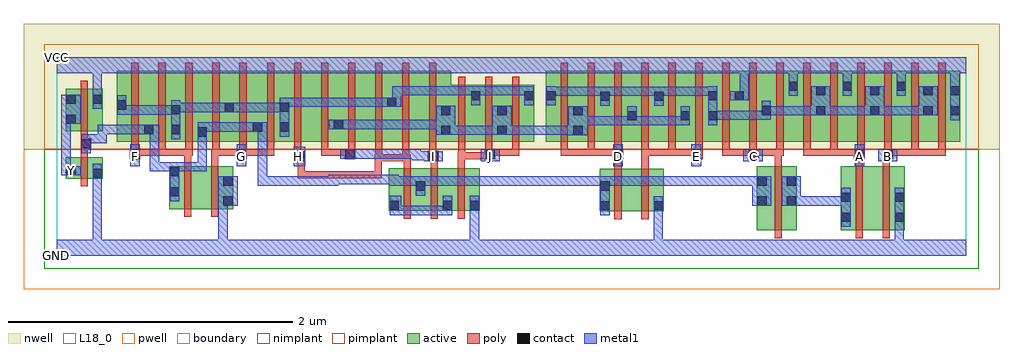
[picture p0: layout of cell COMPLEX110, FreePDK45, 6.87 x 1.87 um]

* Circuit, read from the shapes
.subckt COMPLEX110 A B C D E F G GND H I J VCC Y
M1 GND n1 Y VSUBS nfet w=0.15u l=0.05u
M2 n2 F n1 VSUBS nfet w=0.3u l=0.05u
M3 GND G n2 VSUBS nfet w=0.3u l=0.05u
M4 n1 H n3 VSUBS nfet w=0.3u l=0.05u
M5 n3 I n1 VSUBS nfet w=0.3u l=0.05u
M6 GND J n3 VSUBS nfet w=0.3u l=0.05u
M7 n4 D n1 VSUBS nfet w=0.3u l=0.05u
M8 GND E n4 VSUBS nfet w=0.3u l=0.05u
M9 n5 C n1 VSUBS nfet w=0.45u l=0.05u
M10 n6 A n5 VSUBS nfet w=0.45u l=0.05u
M11 GND B n6 VSUBS nfet w=0.45u l=0.05u
M12 VCC n1 Y n7 pfet w=0.3u l=0.05u
M13 n1 F n8 n7 pfet w=0.5u l=0.05u m=3
M14 n8 G n1 n7 pfet w=0.5u l=0.05u m=3
M15 n9 H n8 n7 pfet w=0.5u l=0.05u
M16 n10 I n9 n7 pfet w=0.5u l=0.05u
M17 n11 I n10 n7 pfet w=0.5u l=0.05u
M18 n8 H n11 n7 pfet w=0.5u l=0.05u
M19 n12 H n8 n7 pfet w=0.5u l=0.05u
M20 n10 I n12 n7 pfet w=0.5u l=0.05u
M21 n8 J n10 n7 pfet w=0.4u l=0.05u m=3
M22 n10 D n13 n7 pfet w=0.5u l=0.05u m=3
M23 n13 E n10 n7 pfet w=0.5u l=0.05u m=3
M24 VCC C n13 n7 pfet w=0.5u l=0.05u m=3
M25 n13 A VCC n7 pfet w=0.5u l=0.05u m=3
M26 VCC B n13 n7 pfet w=0.5u l=0.05u m=3
.ends

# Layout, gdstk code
import gdstk
lib = gdstk.Library(unit=1e-6, precision=1e-09)
def R(c, l, rs):  # rectangles x0, y0, x1, y1
    for r in rs: c.add(gdstk.rectangle(r[:2], r[2:], *l))
def A(c, l, x, y, w, h, nx, ny, dx, dy):  # array of equal rectangles
    R(c, l, [(x+i*dx, y+j*dy, x+i*dx+w, y+j*dy+h) for i in range(nx) for j in range(ny)])
active = (1, 0)
pwell = (2, 0)
nwell = (3, 0)
nimplant = (4, 0)
pimplant = (5, 0)
poly = (9, 0)
contact = (10, 0)
metal1 = (11, 0)
L18_0 = (18, 0)
boundary = (235, 0)

complex110 = lib.new_cell('COMPLEX110')
A(complex110, active, 3.44, 0.805, 0.265, 0.5, 4, 1, 0.19, 0)
A(complex110, active, 3.82, 0.807, 0.075, 0.393, 3, 1, 0.38, 0)
A(complex110, active, 4.765, 0.807, 0.075, 0.498, 4, 1, 0.38, 0)
R(complex110, active, [(4.925,0.18,5.207,0.63), (5.517,0.18,5.742,0.63), (5.742,0.18,5.967,0.63), (5.892,0.182,5.967,0.63), (5.517,0.2,5.592,0.63), (4.925,0.207,5,0.63), (5.132,0.207,5.207,0.63), (3.82,0.315,3.895,0.615), (3.82,0.315,4.045,0.615), (4.045,0.315,4.27,0.615), (4.195,0.315,4.27,0.615), (2.337,0.317,2.412,0.617), (2.337,0.317,2.597,0.617), (2.522,0.317,2.787,0.617), (2.712,0.317,2.977,0.617), (2.712,0.317,2.787,0.497), (2.902,0.317,2.977,0.597), (0.792,0.33,1.017,0.63), (1.017,0.33,1.242,0.63), (1.167,0.35,1.242,0.63), (0.792,0.357,0.867,0.63), (2.522,0.357,2.597,0.53), (0.062,0.545,0.137,0.695), (0.062,0.545,0.322,0.695), (0.247,0.545,0.322,0.695), (0.42,0.805,0.685,1.305), (0.42,0.805,0.495,1.2), (0.61,0.805,0.875,1.305), (0.8,0.805,1.06,1.305), (0.985,0.805,1.25,1.305), (0.985,0.805,1.06,1.07), (1.175,0.805,1.45,1.305), (1.375,0.805,1.64,1.305), (1.565,0.805,1.64,1.2), (1.565,0.805,1.79,1.305), (1.79,0.805,2.02,1.305), (1.945,0.805,2.17,1.305), (2.17,0.805,2.395,1.305), (2.32,0.805,2.55,1.305), (2.55,0.805,2.775,1.305), (2.7,0.805,2.775,1.07), (2.7,0.805,2.985,1.205), (2.91,0.805,3.17,1.205), (3.095,0.805,3.17,1.07), (3.095,0.805,3.36,1.205), (3.285,0.805,3.36,1.2), (3.44,0.805,3.515,1.2), (3.63,0.805,3.705,1.07), (4.2,0.805,4.46,1.305), (4.385,0.805,4.655,1.305), (4.58,0.805,4.84,1.305), (4.765,0.805,5.03,1.305), (4.955,0.805,5.22,1.305), (5.145,0.805,5.415,1.305), (5.34,0.805,5.6,1.305), (5.525,0.805,5.795,1.305), (5.72,0.805,5.98,1.305), (5.905,0.805,6.17,1.305), (6.095,0.805,6.36,1.305), (6.095,0.805,6.17,1.2), (6.285,0.805,6.36,1.305), (0.61,0.807,0.685,1.07), (0.8,0.807,0.875,1.2), (1.175,0.807,1.25,1.2), (1.375,0.807,1.45,1.07), (1.945,0.807,2.02,1.07), (2.32,0.807,2.395,1.2), (4.01,0.807,4.085,1.07), (4.385,0.807,4.46,1.07), (4.955,0.807,5.03,1.2), (5.34,0.807,5.415,1.2), (5.72,0.807,5.795,1.2), (0.062,0.877,0.137,1.177), (0.062,0.877,0.322,1.177), (0.247,0.877,0.322,1.177), (2.91,0.907,2.985,1.2)])
R(complex110, pwell, [(-0.235,-0.235,6.635,0.75)])
R(complex110, nwell, [(-0.235,0.75,6.635,1.635)])
R(complex110, nimplant, [(-0.09,-0.09,6.49,0.75)])
R(complex110, pimplant, [(-0.09,0.75,6.49,1.49)])
A(complex110, poly, 2.442, 0.262, 0.05, 0.41, 3, 1, 0.19, 0)
A(complex110, poly, 0.525, 0.705, 0.05, 0.095, 5, 1, 0.19, 0)
A(complex110, poly, 3.545, 0.705, 0.05, 0.095, 15, 1, 0.19, 0)
A(complex110, poly, 0.525, 0.75, 0.05, 0.61, 5, 1, 0.19, 0)
A(complex110, poly, 1.48, 0.75, 0.05, 0.61, 7, 1, 0.19, 0)
A(complex110, poly, 2.825, 0.75, 0.05, 0.51, 3, 1, 0.19, 0)
A(complex110, poly, 3.545, 0.75, 0.05, 0.61, 15, 1, 0.19, 0)
R(complex110, poly, [(5.052,0.125,5.102,0.685), (5.622,0.125,5.672,0.685), (5.812,0.125,5.862,0.685), (3.925,0.26,3.975,0.67), (4.115,0.26,4.165,0.67), (0.897,0.275,0.947,0.685), (1.087,0.275,1.137,0.685), (0.167,0.49,0.217,0.75), (1.695,0.547,1.745,0.597), (1.695,0.547,1.745,0.597), (1.695,0.547,1.745,0.597), (1.695,0.547,1.942,0.597), (1.695,0.547,1.745,0.712), (1.892,0.547,1.942,0.597), (1.892,0.547,1.942,0.597), (1.892,0.547,1.942,0.597), (1.892,0.547,2.075,0.597), (2.025,0.547,2.075,0.597), (2.025,0.547,2.287,0.597), (2.237,0.547,2.287,0.597), (2.237,0.547,2.287,0.597), (2.237,0.547,2.287,0.597), (2.237,0.547,2.287,0.597), (2.237,0.547,2.287,0.597), (2.237,0.547,2.287,0.717), (3.925,0.62,3.975,0.73), (4.115,0.62,4.165,0.755), (2.442,0.622,2.492,0.717), (2.632,0.622,2.682,0.717), (2.822,0.622,2.872,0.73), (0.897,0.635,0.947,0.755), (1.087,0.635,1.137,0.755), (5.052,0.635,5.102,0.755), (5.622,0.635,5.672,0.73), (5.812,0.635,5.862,0.73), (1.67,0.662,1.745,0.737), (1.695,0.662,1.745,0.712), (1.695,0.662,1.745,0.712), (2.237,0.667,2.29,0.717), (2.24,0.667,2.48,0.717), (2.24,0.667,2.29,0.8), (2.43,0.667,2.48,0.717), (2.43,0.667,2.48,0.717), (2.43,0.667,2.48,0.8), (2.43,0.667,2.492,0.717), (2.612,0.667,2.687,0.742), (0.512,0.68,0.587,0.755), (1.262,0.68,1.337,0.755), (2.025,0.68,2.1,0.755), (2.822,0.68,2.875,0.73), (2.825,0.68,2.875,0.73), (2.825,0.68,2.875,0.73), (2.825,0.68,2.875,0.8), (2.825,0.68,3.062,0.73), (3.012,0.68,3.087,0.755), (3.91,0.68,3.985,0.755), (4.465,0.68,4.545,0.755), (4.865,0.68,4.94,0.755), (5.61,0.68,5.685,0.755), (5.812,0.68,5.887,0.755), (1.67,0.687,1.72,0.8), (2.62,0.692,2.67,0.8), (0.167,0.7,0.217,0.802), (0.537,0.705,0.587,0.755), (0.537,0.705,0.587,0.755), (0.537,0.705,0.765,0.755), (0.715,0.705,0.765,0.755), (0.715,0.705,0.765,0.755), (0.715,0.705,0.765,0.755), (0.715,0.705,0.947,0.755), (0.897,0.705,0.955,0.755), (1.087,0.705,1.145,0.755), (1.095,0.705,1.312,0.755), (1.262,0.705,1.312,0.755), (1.262,0.705,1.312,0.755), (1.287,0.705,1.53,0.755), (1.48,0.705,1.53,0.8), (1.48,0.705,1.53,0.755), (1.48,0.705,1.53,0.755), (1.48,0.705,1.53,0.755), (1.86,0.705,1.91,0.8), (1.86,0.705,1.91,0.755), (1.86,0.705,2.075,0.755), (2.025,0.705,2.075,0.755), (2.025,0.705,2.075,0.755), (2.05,0.705,2.1,0.8), (3.015,0.705,3.065,0.8), (3.037,0.705,3.255,0.755), (3.205,0.705,3.255,0.8), (3.205,0.705,3.255,0.755), (3.205,0.705,3.255,0.755), (3.205,0.705,3.255,0.755), (3.545,0.705,3.595,0.755), (3.545,0.705,3.785,0.755), (3.735,0.705,3.785,0.755), (3.735,0.705,3.785,0.755), (3.735,0.705,3.785,0.755), (3.735,0.705,3.96,0.755), (3.91,0.705,3.96,0.755), (3.91,0.705,3.96,0.755), (4.115,0.705,4.165,0.755), (4.115,0.705,4.165,0.755), (4.115,0.705,4.165,0.755), (4.115,0.705,4.355,0.755), (4.305,0.705,4.355,0.755), (4.305,0.705,4.355,0.755), (4.305,0.705,4.355,0.755), (4.305,0.705,4.515,0.755), (4.685,0.705,4.735,0.755), (4.685,0.705,4.735,0.755), (4.685,0.705,4.735,0.755), (4.685,0.705,4.915,0.755), (4.89,0.705,4.94,0.755), (4.89,0.705,4.94,0.755), (4.89,0.705,5.102,0.755), (5.052,0.705,5.115,0.755), (5.255,0.705,5.305,0.755), (5.255,0.705,5.305,0.755), (5.255,0.705,5.305,0.755), (5.255,0.705,5.495,0.755), (5.445,0.705,5.495,0.755), (5.445,0.705,5.495,0.755), (5.445,0.705,5.495,0.755), (5.445,0.705,5.66,0.755), (5.837,0.705,6.065,0.755), (6.015,0.705,6.065,0.755), (6.015,0.705,6.065,0.755), (6.015,0.705,6.065,0.755), (6.015,0.705,6.255,0.755), (6.205,0.705,6.255,0.755), (6.205,0.705,6.255,0.755), (6.205,0.705,6.255,0.755), (0.167,0.752,0.242,0.827), (0.167,0.777,0.217,0.872), (0.167,0.822,0.217,1.232)])
A(complex110, contact, 5.15, 1.162, 0.065, 0.065, 3, 1, 0.38, 0)
R(complex110, contact, [(5.522,0.24,5.587,0.305), (5.897,0.24,5.962,0.305), (3.825,0.32,3.89,0.385), (4.2,0.32,4.265,0.385), (2.342,0.322,2.407,0.387), (2.717,0.322,2.782,0.387), (2.907,0.322,2.972,0.387), (1.172,0.355,1.237,0.42), (4.93,0.355,4.995,0.42), (5.137,0.355,5.202,0.42), (5.522,0.38,5.587,0.445), (5.897,0.38,5.962,0.445), (0.797,0.42,0.862,0.485), (2.527,0.46,2.592,0.525), (3.825,0.46,3.89,0.525), (1.172,0.495,1.237,0.56), (4.93,0.495,4.995,0.56), (5.137,0.495,5.202,0.56), (0.252,0.55,0.317,0.615), (0.797,0.56,0.862,0.625), (0.067,0.567,0.132,0.632), (1.675,0.667,1.74,0.732), (2.617,0.672,2.682,0.737), (0.517,0.685,0.582,0.75), (1.267,0.685,1.332,0.75), (2.03,0.685,2.095,0.75), (3.017,0.685,3.082,0.75), (3.915,0.685,3.98,0.75), (4.47,0.685,4.535,0.75), (4.87,0.685,4.935,0.75), (5.615,0.685,5.68,0.75), (5.817,0.685,5.882,0.75), (0.172,0.757,0.237,0.822), (0.99,0.84,1.055,0.905), (3.635,0.85,3.7,0.915), (2.705,0.852,2.77,0.917), (3.1,0.852,3.165,0.917), (0.615,0.857,0.68,0.922), (0.805,0.857,0.87,0.922), (1.38,0.875,1.445,0.94), (1.57,0.875,1.635,0.94), (1.95,0.892,2.015,0.957), (0.067,0.93,0.132,0.995), (4.015,0.955,4.08,1.02), (4.39,0.955,4.455,1.02), (4.585,0.955,4.65,1.02), (3.635,0.99,3.7,1.055), (5.345,0.99,5.41,1.055), (5.725,0.99,5.79,1.055), (6.1,0.99,6.165,1.055), (6.29,0.99,6.355,1.055), (2.705,0.992,2.77,1.057), (3.1,0.992,3.165,1.057), (4.96,0.992,5.025,1.057), (0.805,0.997,0.87,1.062), (1.18,1.012,1.245,1.077), (1.57,1.015,1.635,1.08), (0.425,1.03,0.49,1.095), (2.325,1.05,2.39,1.115), (0.067,1.07,0.132,1.135), (0.252,1.07,0.317,1.135), (3.825,1.092,3.89,1.157), (4.205,1.092,4.27,1.157), (2.915,1.095,2.98,1.16), (3.29,1.095,3.355,1.16), (3.445,1.095,3.51,1.16), (4.585,1.095,4.65,1.16), (4.77,1.095,4.835,1.16), (5.345,1.13,5.41,1.195), (5.725,1.13,5.79,1.195), (6.1,1.13,6.165,1.195), (6.29,1.13,6.355,1.195)])
A(complex110, metal1, 5.15, 1.127, 0.065, 0.135, 3, 1, 0.38, 0)
A(complex110, metal1, 5.15, 1.197, 0.065, 0.153, 3, 1, 0.38, 0)
R(complex110, metal1, [(0,0,6.4,0.115), (0.252,0.05,0.317,0.115), (0.252,0.05,0.317,0.115), (0.252,0.05,0.317,0.115), (0.252,0.05,0.317,0.115), (0.252,0.05,0.317,0.115), (0.252,0.05,0.317,0.115), (0.252,0.05,0.317,0.58), (1.137,0.05,1.202,0.115), (1.137,0.05,1.202,0.115), (1.137,0.05,1.202,0.115), (1.137,0.05,1.202,0.115), (1.137,0.05,1.202,0.42), (2.907,0.05,2.972,0.352), (4.2,0.05,4.265,0.115), (4.2,0.05,4.265,0.115), (4.2,0.05,4.265,0.35), (5.897,0.05,5.962,0.27), (5.522,0.205,5.587,0.48), (5.897,0.205,5.962,0.48), (5.897,0.205,5.962,0.27), (5.897,0.205,5.962,0.27), (3.825,0.285,3.89,0.56), (4.2,0.285,4.265,0.35), (4.2,0.285,4.265,0.35), (4.2,0.285,4.265,0.42), (2.342,0.287,2.425,0.422), (2.36,0.287,2.425,0.352), (2.36,0.287,2.425,0.352), (2.36,0.287,2.562,0.352), (2.497,0.287,2.562,0.352), (2.497,0.287,2.562,0.352), (2.497,0.287,2.562,0.352), (2.497,0.287,2.782,0.352), (2.717,0.287,2.782,0.422), (2.907,0.287,2.972,0.352), (2.907,0.287,2.972,0.352), (2.907,0.287,2.972,0.352), (2.907,0.287,2.972,0.352), (2.907,0.287,2.972,0.422), (1.137,0.355,1.272,0.56), (4.895,0.355,5.03,0.56), (5.102,0.355,5.237,0.56), (5.172,0.355,5.237,0.42), (5.172,0.355,5.237,0.42), (5.172,0.355,5.445,0.42), (5.38,0.355,5.445,0.42), (5.38,0.355,5.445,0.42), (5.38,0.355,5.445,0.42), (5.38,0.355,5.587,0.42), (0.797,0.385,0.862,0.66), (2.527,0.425,2.592,0.56), (1.415,0.495,1.48,0.56), (1.415,0.495,1.48,0.56), (1.415,0.495,1.48,0.56), (1.415,0.495,1.705,0.56), (1.415,0.495,1.48,0.94), (1.64,0.495,1.705,0.56), (1.64,0.495,1.705,0.56), (1.64,0.495,1.705,0.56), (1.64,0.495,1.842,0.56), (1.777,0.495,1.842,0.56), (1.777,0.495,1.842,0.56), (1.777,0.495,1.842,0.56), (1.777,0.495,1.98,0.56), (1.915,0.495,1.98,0.57), (2.34,0.495,2.592,0.56), (2.34,0.495,2.405,0.57), (2.527,0.495,2.592,0.56), (2.527,0.495,2.592,0.56), (2.527,0.495,2.73,0.56), (2.665,0.495,2.73,0.56), (2.665,0.495,2.73,0.56), (2.665,0.495,2.73,0.56), (2.665,0.495,2.942,0.56), (2.877,0.495,2.942,0.56), (2.877,0.495,2.942,0.56), (2.877,0.495,2.942,0.56), (2.877,0.495,3.142,0.56), (3.077,0.495,3.142,0.56), (3.077,0.495,3.355,0.56), (3.29,0.495,3.355,0.56), (3.29,0.495,3.355,0.56), (3.29,0.495,3.355,0.56), (3.29,0.495,3.51,0.56), (3.445,0.495,3.51,0.56), (3.445,0.495,3.51,0.56), (3.445,0.495,3.51,0.56), (3.445,0.495,3.735,0.56), (3.67,0.495,3.735,0.56), (3.67,0.495,3.735,0.56), (3.67,0.495,3.735,0.56), (3.67,0.495,3.89,0.56), (3.825,0.495,3.89,0.56), (3.825,0.495,3.89,0.56), (3.825,0.495,4.102,0.56), (4.037,0.495,4.102,0.56), (4.037,0.495,4.102,0.56), (4.037,0.495,4.102,0.56), (4.037,0.495,4.292,0.56), (4.227,0.495,4.292,0.56), (4.227,0.495,4.292,0.56), (4.227,0.495,4.292,0.56), (4.227,0.495,4.512,0.56), (4.447,0.495,4.512,0.56), (4.447,0.495,4.512,0.56), (4.447,0.495,4.512,0.56), (4.447,0.495,4.65,0.56), (4.585,0.495,4.65,0.56), (4.585,0.495,4.65,0.56), (4.585,0.495,4.65,0.56), (4.585,0.495,4.822,0.56), (4.757,0.495,4.822,0.56), (4.757,0.495,4.822,0.56), (4.757,0.495,4.822,0.56), (4.757,0.495,4.96,0.56), (1.915,0.505,1.98,0.57), (1.915,0.505,1.98,0.57), (1.915,0.505,2.187,0.57), (2.122,0.505,2.187,0.57), (2.122,0.505,2.267,0.57), (2.202,0.505,2.267,0.57), (2.202,0.505,2.405,0.57), (2.34,0.505,2.405,0.57), (2.34,0.505,2.405,0.57), (0.252,0.515,0.317,0.65), (0.032,0.567,0.097,0.632), (0.032,0.567,0.097,0.632), (0.032,0.567,0.167,0.632), (0.032,0.567,0.097,0.995), (0.655,0.595,0.72,0.66), (0.655,0.595,0.72,0.66), (0.655,0.595,0.72,0.66), (0.655,0.595,0.72,0.66), (0.655,0.595,0.72,0.66), (0.655,0.595,0.862,0.66), (0.655,0.595,0.72,0.922), (0.797,0.595,0.862,0.66), (0.797,0.595,0.862,0.66), (0.797,0.595,1.055,0.66), (0.99,0.595,1.055,0.87), (0.99,0.595,1.055,0.66), (0.517,0.63,0.582,0.785), (1.267,0.632,1.332,0.787), (1.667,0.632,1.747,0.767), (3.915,0.632,3.982,0.785), (4.467,0.632,4.535,0.785), (5.615,0.632,5.682,0.785), (2.582,0.667,2.717,0.737), (2.982,0.667,3.117,0.75), (4.832,0.667,4.97,0.75), (5.782,0.667,5.917,0.75), (2.497,0.672,2.647,0.737), (2.497,0.672,2.562,0.75), (1.995,0.685,2.13,0.75), (2.065,0.685,2.187,0.75), (2.122,0.685,2.187,0.75), (2.122,0.685,2.267,0.75), (2.202,0.685,2.267,0.75), (2.202,0.685,2.325,0.75), (2.26,0.685,2.325,0.75), (2.26,0.685,2.425,0.75), (2.36,0.685,2.425,0.75), (2.36,0.685,2.562,0.75), (0.172,0.722,0.237,0.857), (0.172,0.792,0.352,0.857), (0.287,0.792,0.352,0.857), (0.287,0.792,0.352,0.922), (0.99,0.805,1.055,0.87), (0.99,0.805,1.055,0.87), (0.99,0.805,1.055,0.94), (0.805,0.822,0.87,1.097), (1.57,0.84,1.635,1.115), (3.6,0.85,3.735,1.055), (2.67,0.852,2.805,1.057), (2.74,0.852,2.805,0.917), (2.74,0.852,2.805,0.917), (2.74,0.852,2.942,0.917), (2.877,0.852,2.942,0.917), (2.877,0.852,3.13,0.917), (3.065,0.852,3.13,0.917), (3.065,0.852,3.13,0.917), (3.065,0.852,3.2,1.057), (3.135,0.852,3.355,0.917), (3.29,0.852,3.355,0.917), (3.29,0.852,3.355,0.917), (3.29,0.852,3.355,0.917), (3.29,0.852,3.492,0.917), (3.427,0.852,3.492,0.917), (3.427,0.852,3.597,0.917), (3.532,0.852,3.597,0.917), (3.532,0.852,3.665,0.917), (0.287,0.857,0.352,0.922), (0.287,0.857,0.507,0.922), (0.442,0.857,0.507,0.922), (0.442,0.857,0.507,0.922), (0.442,0.857,0.507,0.922), (0.442,0.857,0.645,0.922), (0.58,0.857,0.72,0.922), (0.99,0.875,1.055,0.94), (0.99,0.875,1.055,0.94), (0.99,0.875,1.192,0.94), (1.127,0.875,1.192,0.94), (1.127,0.875,1.192,0.94), (1.127,0.875,1.192,0.94), (1.127,0.875,1.41,0.94), (1.345,0.875,1.48,0.94), (1.415,0.875,1.48,0.94), (1.415,0.875,1.48,0.94), (1.915,0.892,2.05,0.957), (1.985,0.892,2.05,0.957), (1.985,0.892,2.05,0.957), (1.985,0.892,2.187,0.957), (2.122,0.892,2.187,0.957), (2.122,0.892,2.267,0.957), (2.202,0.892,2.267,0.957), (2.202,0.892,2.425,0.957), (2.36,0.892,2.425,0.957), (2.36,0.892,2.425,0.957), (2.36,0.892,2.425,0.957), (2.36,0.892,2.562,0.957), (2.497,0.892,2.562,0.957), (2.497,0.892,2.562,0.957), (2.497,0.892,2.562,0.957), (2.497,0.892,2.735,0.957), (3.67,0.92,3.735,0.985), (3.67,0.92,3.735,0.985), (3.67,0.92,3.872,0.985), (3.807,0.92,3.872,0.985), (3.807,0.92,3.872,0.985), (3.807,0.92,3.872,0.985), (3.807,0.92,4.08,0.985), (4.015,0.92,4.08,0.985), (4.015,0.92,4.08,0.985), (4.015,0.92,4.08,1.055), (4.015,0.92,4.24,0.985), (4.175,0.92,4.24,0.985), (4.175,0.92,4.24,0.985), (4.175,0.92,4.24,0.985), (4.175,0.92,4.455,0.985), (4.39,0.92,4.455,1.055), (4.585,0.92,4.65,1.195), (0.032,0.93,0.167,1.135), (6.29,0.955,6.355,1.23), (4.585,0.957,4.65,1.022), (4.585,0.957,4.65,1.022), (4.585,0.957,4.822,1.022), (4.757,0.957,4.822,1.022), (4.757,0.957,4.822,1.022), (4.757,0.957,4.822,1.022), (4.757,0.957,5.025,1.022), (4.96,0.957,5.025,1.092), (4.96,0.99,5.025,1.055), (4.96,0.99,5.025,1.055), (4.96,0.99,5.237,1.055), (5.172,0.99,5.237,1.055), (5.172,0.99,5.237,1.055), (5.172,0.99,5.237,1.055), (5.172,0.99,5.375,1.055), (5.31,0.99,5.445,1.195), (5.38,0.99,5.445,1.055), (5.38,0.99,5.445,1.055), (5.38,0.99,5.582,1.055), (5.517,0.99,5.582,1.055), (5.517,0.99,5.582,1.055), (5.517,0.99,5.582,1.055), (5.517,0.99,5.755,1.055), (5.69,0.99,5.825,1.195), (5.76,0.99,5.962,1.055), (5.897,0.99,5.962,1.055), (5.897,0.99,5.962,1.055), (5.897,0.99,5.962,1.055), (5.897,0.99,6.13,1.055), (6.065,0.99,6.13,1.055), (6.065,0.99,6.13,1.055), (6.065,0.99,6.2,1.195), (0.425,0.995,0.49,1.06), (0.425,0.995,0.49,1.06), (0.425,0.995,0.49,1.13), (0.425,0.995,0.72,1.06), (0.655,0.995,0.72,1.06), (0.655,0.995,0.72,1.06), (0.655,0.995,0.72,1.06), (0.655,0.995,0.87,1.06), (0.805,1.012,0.87,1.077), (0.805,1.012,0.87,1.077), (0.805,1.012,1.055,1.077), (0.99,1.012,1.055,1.077), (0.99,1.012,1.055,1.077), (0.99,1.012,1.055,1.077), (0.99,1.012,1.21,1.077), (1.145,1.012,1.28,1.077), (1.215,1.012,1.28,1.077), (1.215,1.012,1.28,1.077), (1.215,1.012,1.497,1.077), (1.432,1.012,1.497,1.077), (1.432,1.012,1.497,1.077), (1.432,1.012,1.497,1.077), (1.432,1.012,1.635,1.077), (0.252,1.035,0.317,1.17), (1.57,1.05,1.635,1.115), (1.57,1.05,1.635,1.115), (1.57,1.05,1.842,1.115), (1.777,1.05,1.842,1.115), (1.777,1.05,1.842,1.115), (1.777,1.05,1.842,1.115), (1.777,1.05,1.98,1.115), (1.915,1.05,1.98,1.115), (1.915,1.05,1.98,1.115), (1.915,1.05,1.98,1.115), (1.915,1.05,2.187,1.115), (2.122,1.05,2.187,1.115), (2.122,1.05,2.267,1.115), (2.202,1.05,2.267,1.115), (2.202,1.05,2.355,1.115), (2.29,1.05,2.425,1.115), (2.36,1.05,2.425,1.115), (2.36,1.05,2.425,1.195), (3.825,1.057,3.89,1.192), (4.205,1.057,4.27,1.192), (2.915,1.06,2.98,1.195), (3.29,1.06,3.355,1.195), (3.445,1.06,3.51,1.195), (4.735,1.095,4.87,1.16), (4.805,1.095,4.87,1.35), (0.252,1.105,0.317,1.35), (3.445,1.127,3.51,1.192), (3.445,1.127,3.51,1.192), (3.445,1.127,3.647,1.192), (3.582,1.127,3.647,1.192), (3.582,1.127,3.735,1.192), (3.67,1.127,3.735,1.192), (3.67,1.127,3.89,1.192), (3.825,1.127,3.89,1.192), (3.825,1.127,3.89,1.192), (3.825,1.127,4.05,1.192), (3.985,1.127,4.05,1.192), (3.985,1.127,4.05,1.192), (3.985,1.127,4.05,1.192), (3.985,1.127,4.27,1.192), (4.205,1.127,4.27,1.192), (4.205,1.127,4.27,1.192), (4.205,1.127,4.512,1.192), (4.447,1.127,4.512,1.192), (4.447,1.127,4.512,1.192), (4.447,1.127,4.512,1.192), (4.447,1.127,4.65,1.192), (2.36,1.13,2.562,1.195), (2.497,1.13,2.562,1.195), (2.497,1.13,2.562,1.195), (2.497,1.13,2.562,1.195), (2.497,1.13,2.805,1.195), (2.74,1.13,2.805,1.195), (2.74,1.13,2.805,1.195), (2.74,1.13,2.805,1.195), (2.74,1.13,2.98,1.195), (2.915,1.13,3.117,1.195), (3.052,1.13,3.117,1.195), (3.052,1.13,3.117,1.195), (3.052,1.13,3.117,1.195), (3.052,1.13,3.355,1.195), (3.29,1.13,3.355,1.195), (3.29,1.13,3.355,1.195), (6.29,1.165,6.355,1.35), (0,1.285,6.4,1.4), (0.252,1.285,0.317,1.35), (0.252,1.285,0.317,1.35)])
A(complex110, L18_0, 5.15, 1.127, 0.065, 0.135, 3, 1, 0.38, 0)
A(complex110, L18_0, 5.15, 1.197, 0.065, 0.153, 3, 1, 0.38, 0)
R(complex110, L18_0, [(0,0,6.4,0.115), (0.252,0.05,0.317,0.115), (0.252,0.05,0.317,0.115), (0.252,0.05,0.317,0.115), (0.252,0.05,0.317,0.115), (0.252,0.05,0.317,0.115), (0.252,0.05,0.317,0.115), (0.252,0.05,0.317,0.58), (1.137,0.05,1.202,0.115), (1.137,0.05,1.202,0.115), (1.137,0.05,1.202,0.115), (1.137,0.05,1.202,0.115), (1.137,0.05,1.202,0.42), (2.907,0.05,2.972,0.352), (4.2,0.05,4.265,0.115), (4.2,0.05,4.265,0.115), (4.2,0.05,4.265,0.35), (5.897,0.05,5.962,0.27), (5.897,0.205,5.962,0.27), (5.897,0.205,5.962,0.27), (5.897,0.205,5.962,0.48), (4.2,0.285,4.265,0.35), (4.2,0.285,4.265,0.35), (4.2,0.285,4.265,0.42), (2.907,0.287,2.972,0.352), (2.907,0.287,2.972,0.352), (2.907,0.287,2.972,0.352), (2.907,0.287,2.972,0.352), (2.907,0.287,2.972,0.422), (1.137,0.355,1.272,0.56), (0.252,0.515,0.317,0.65), (0.032,0.567,0.167,0.632), (0.032,0.567,0.097,0.632), (0.032,0.567,0.097,0.632), (0.032,0.567,0.097,0.995), (0.067,0.567,0.132,0.632), (0.517,0.63,0.582,0.785), (1.267,0.632,1.332,0.787), (1.667,0.632,1.747,0.767), (3.915,0.632,3.982,0.785), (4.467,0.632,4.535,0.785), (5.615,0.632,5.682,0.785), (0.517,0.667,0.582,0.732), (1.267,0.667,1.332,0.732), (1.667,0.667,1.732,0.732), (2.582,0.667,2.717,0.737), (2.617,0.667,2.682,0.732), (2.982,0.667,3.117,0.75), (3.017,0.667,3.082,0.732), (3.917,0.667,3.982,0.732), (4.467,0.667,4.532,0.732), (4.832,0.667,4.97,0.75), (4.867,0.667,4.932,0.732), (5.617,0.667,5.682,0.732), (5.782,0.667,5.917,0.75), (5.817,0.667,5.882,0.732), (2.497,0.672,2.562,0.75), (2.497,0.672,2.647,0.737), (1.995,0.685,2.13,0.75), (2.065,0.685,2.187,0.75), (2.122,0.685,2.187,0.75), (2.122,0.685,2.267,0.75), (2.202,0.685,2.267,0.75), (2.202,0.685,2.325,0.75), (2.26,0.685,2.325,0.75), (2.26,0.685,2.425,0.75), (2.36,0.685,2.425,0.75), (2.36,0.685,2.562,0.75), (0.032,0.93,0.167,1.135), (6.29,0.955,6.355,1.23), (0.252,1.035,0.317,1.17), (4.735,1.095,4.87,1.16), (4.805,1.095,4.87,1.35), (0.252,1.105,0.317,1.35), (6.29,1.165,6.355,1.35), (0,1.285,6.4,1.4), (0.252,1.285,0.317,1.35), (0.252,1.285,0.317,1.35)])
R(complex110, boundary, [(0,0,6.4,1.4)])
complex110.add(gdstk.Label('A', (5.65,0.7), layer=11, texttype=0))
complex110.add(gdstk.Label('B', (5.85,0.7), layer=11, texttype=0))
complex110.add(gdstk.Label('C', (4.9,0.7), layer=11, texttype=0))
complex110.add(gdstk.Label('D', (3.95,0.7), layer=11, texttype=0))
complex110.add(gdstk.Label('E', (4.5,0.7), layer=11, texttype=0))
complex110.add(gdstk.Label('F', (0.55,0.7), layer=11, texttype=0))
complex110.add(gdstk.Label('G', (1.3,0.7), layer=11, texttype=0))
complex110.add(gdstk.Label('H', (1.7,0.7), layer=11, texttype=0))
complex110.add(gdstk.Label('I', (2.65,0.7), layer=11, texttype=0))
complex110.add(gdstk.Label('J', (3.05,0.7), layer=11, texttype=0))
complex110.add(gdstk.Label('Y', (0.1,0.6), layer=11, texttype=0))
complex110.add(gdstk.Label('VCC', (0,1.4), layer=11, texttype=0))
complex110.add(gdstk.Label('GND', (0,0), layer=11, texttype=0))

lib.write_gds('COMPLEX110.gds')
